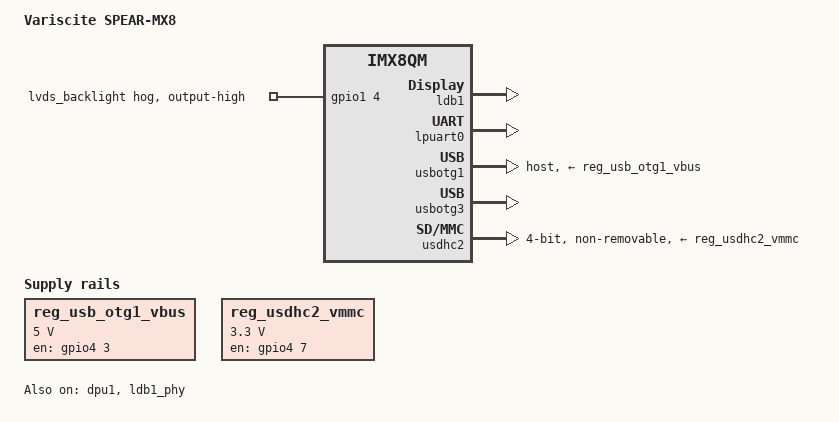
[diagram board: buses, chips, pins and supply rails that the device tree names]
// SPDX-License-Identifier: GPL-2.0+
/*
 * Copyright 2017-2023 NXP
 */

/dts-v1/;

#include "imx8qm-var-spear.dtsi"

/ {
	model = "Variscite SPEAR-MX8";
	compatible = "variscite,imx8qm-var-spear", "fsl,imx8qm";

	chosen {
		bootargs = "console=ttyLP0,115200 earlycon";
		stdout-path = &lpuart0;
	};

	regulators {
		compatible = "simple-bus";
		#address-cells = <1>;
		#size-cells = <0>;

		reg_usb_otg1_vbus: regulator@0 {
			compatible = "regulator-fixed";
			reg = <0>;
			regulator-name = "usb_otg1_vbus";
			regulator-min-microvolt = <5000000>;
			regulator-max-microvolt = <5000000>;
			gpio = <&gpio4 3 GPIO_ACTIVE_HIGH>;
			enable-active-high;
		};

		reg_usdhc2_vmmc: usdhc2_vmmc {
			compatible = "regulator-fixed";
			regulator-name = "sw-3p3-sd1";
			regulator-min-microvolt = <3300000>;
			regulator-max-microvolt = <3300000>;
			gpio = <&gpio4 7 GPIO_ACTIVE_HIGH>;
			enable-active-high;
			startup-delay-us = <100>;
			u-boot,off-on-delay-us = <12000>;
		};
	};
};

&dpu1 {
	status = "okay";
};

&gpio1 {
	pinctrl-names = "default";
	pinctrl-0 = <&pinctrl_backlight>;
	status = "okay";

	lvds_backlight_hog {
		gpio-hog;
		gpios = <4 GPIO_ACTIVE_HIGH>;
		output-high;
		line-name = "lvds_backlight";
	};
};

&gpio4 {
	status = "okay";
};

&gpio5 {
	status = "okay";
};

&iomuxc {
	pinctrl-names = "default";

	imx8qm-var-spear {

		pinctrl_lpuart0: lpuart0grp {
			fsl,pins = <
				SC_P_UART0_RX_DMA_UART0_RX			0x06000020
				SC_P_UART0_TX_DMA_UART0_TX			0x06000020
			>;
		};

		pinctrl_usdhc2_gpio: usdhc2grpgpio {
			fsl,pins = <
				SC_P_USDHC1_DATA7_LSIO_GPIO5_IO22		0x00000021
				SC_P_USDHC1_RESET_B_LSIO_GPIO4_IO07		0x00000021
			>;
		};

		pinctrl_usdhc2: usdhc2grp {
			fsl,pins = <
				SC_P_USDHC1_CLK_CONN_USDHC1_CLK			0x06000041
				SC_P_USDHC1_CMD_CONN_USDHC1_CMD			0x00000021
				SC_P_USDHC1_DATA0_CONN_USDHC1_DATA0		0x00000021
				SC_P_USDHC1_DATA1_CONN_USDHC1_DATA1		0x00000021
				SC_P_USDHC1_DATA2_CONN_USDHC1_DATA2		0x00000021
				SC_P_USDHC1_DATA3_CONN_USDHC1_DATA3		0x00000021
				SC_P_USDHC1_VSELECT_CONN_USDHC1_VSELECT		0x00000021
			>;
		};

		pinctrl_usdhc2_100mhz: usdhc2grp100mhz {
			fsl,pins = <
				SC_P_USDHC1_CLK_CONN_USDHC1_CLK			0x06000040
				SC_P_USDHC1_CMD_CONN_USDHC1_CMD			0x00000020
				SC_P_USDHC1_DATA0_CONN_USDHC1_DATA0		0x00000020
				SC_P_USDHC1_DATA1_CONN_USDHC1_DATA1		0x00000020
				SC_P_USDHC1_DATA2_CONN_USDHC1_DATA2		0x00000020
				SC_P_USDHC1_DATA3_CONN_USDHC1_DATA3		0x00000020
				SC_P_USDHC1_VSELECT_CONN_USDHC1_VSELECT		0x00000020
			>;
		};

		pinctrl_usdhc2_200mhz: usdhc2grp200mhz {
			fsl,pins = <
				SC_P_USDHC1_CLK_CONN_USDHC1_CLK			0x06000040
				SC_P_USDHC1_CMD_CONN_USDHC1_CMD			0x00000020
				SC_P_USDHC1_DATA0_CONN_USDHC1_DATA0		0x00000020
				SC_P_USDHC1_DATA1_CONN_USDHC1_DATA1		0x00000020
				SC_P_USDHC1_DATA2_CONN_USDHC1_DATA2		0x00000020
				SC_P_USDHC1_DATA3_CONN_USDHC1_DATA3		0x00000020
				SC_P_USDHC1_VSELECT_CONN_USDHC1_VSELECT		0x00000020
			>;
		};

		pinctrl_usbotg1: otg1grp {
			fsl,pins = <
				SC_P_USB_SS3_TC0_LSIO_GPIO4_IO03		0x06000048
			>;
		};

		pinctrl_backlight: backlightgrp {
			fsl,pins = <
				SC_P_LVDS0_GPIO00_LSIO_GPIO1_IO04		0x00000020
			>;
		};
	};
};

&ldb1_phy {
	status = "okay";
};

&ldb1 {
	status = "okay";

	lvds-channel@0 {
		fsl,data-mapping = "jeida";
		fsl,data-width = <24>;
		status = "okay";

		display-timings {
			native-mode = <&timing0>;

			timing0: timing0 {
				clock-frequency = <35714000>;
				hactive = <800>;
				vactive = <480>;
				hback-porch = <40>;
				hfront-porch = <40>;
				vback-porch = <29>;
				vfront-porch = <13>;
				hsync-len = <48>;
				vsync-len = <3>;
			};
		};
	};
};

&lpuart0 { /* console */
	pinctrl-names = "default";
	pinctrl-0 = <&pinctrl_lpuart0>;
	status = "okay";
};

&usbotg1 {
	dr_mode = "host";
	pinctrl-names = "default";
	pinctrl-0 = <&pinctrl_usbotg1>;
	vbus-supply = <&reg_usb_otg1_vbus>;
	srp-disable;
	hnp-disable;
	adp-disable;
	disable-over-current;
	status = "okay";
};

&usbotg3 {
	status = "okay";
};

&usdhc2 {
	pinctrl-names = "default", "state_100mhz", "state_200mhz";
	pinctrl-0 = <&pinctrl_usdhc2>, <&pinctrl_usdhc2_gpio>;
	pinctrl-1 = <&pinctrl_usdhc2>, <&pinctrl_usdhc2_gpio>;
	pinctrl-2 = <&pinctrl_usdhc2>, <&pinctrl_usdhc2_gpio>;
	bus-width = <4>;
	non-removable;
	vmmc-supply = <&reg_usdhc2_vmmc>;
	no-1-8-v;
	status = "okay";
};
